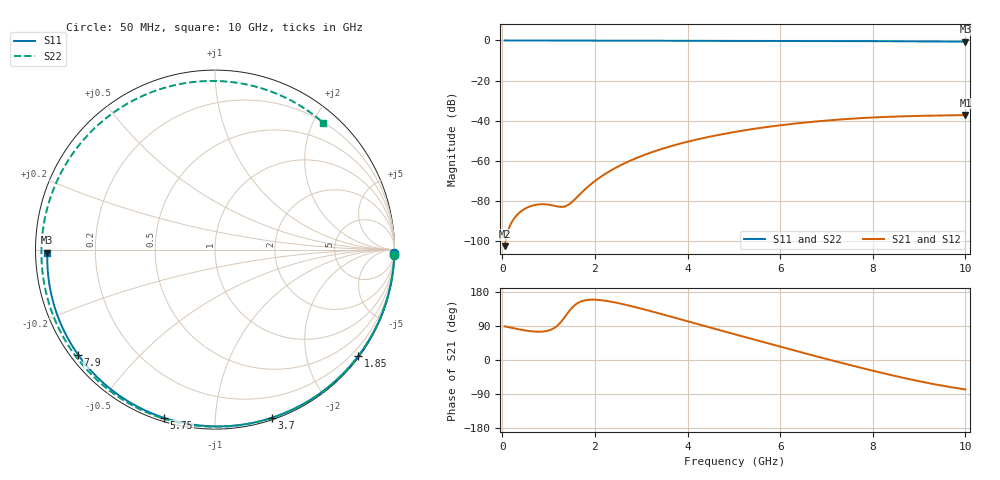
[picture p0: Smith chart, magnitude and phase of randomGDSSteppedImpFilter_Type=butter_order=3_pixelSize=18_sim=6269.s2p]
! freq	dB(S11)	phase(S11)	dB(S12)	phase(S12)
!  dB(S21)	phase(S21)	dB(S22)	phase(S22)
!S-par simulation data
#  GHz  S  DB  R 50
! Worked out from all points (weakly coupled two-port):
!   200 points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, 50 MHz to 10 GHz, reference 50 ohm
!   highest |S21| = -37.24 dB at 10 GHz (marker M1); lowest = -102.7 dB at 50 MHz (marker M2)
!   lowest |S11| = -0.6 dB at 10 GHz (marker M3), VSWR 29.39, Z = 1.7 - j0.47 ohm
!   |S11| at or under -10 dB: nowhere
!   |S22| runs from -0.6 to 0.0 dB; largest |S21 - S12| = 0
!   S11 on the Smith chart (normalised r, x): 50 MHz: open; 1.85 GHz: 0.03, -3.01; 3.7 GHz: 0.02, -1.39; 5.75 GHz: 0.02, -0.74; 7.9 GHz: 0.02, -0.34; 10 GHz: 0.03, -0.01
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0.05  -0.00 -1.0  -102.69 88.8  -102.69 88.8  -0.00 -1.7
0.75  -0.02 -15.1  -81.95 74.8  -81.95 74.8  -0.03 -24.9
1.5  -0.04 -29.9  -80.74 137.2  -80.74 137.2  -0.06 -49.1
1.55  -0.04 -30.9  -79.67 143.1  -79.67 143.1  -0.06 -50.7
1.75  -0.04 -34.8  -75.11 156.4  -75.11 156.4  -0.07 -56.9
1.85  -0.05 -36.7  -73.00 158.6  -73.00 158.6  -0.08 -60.0
2.15  -0.05 -42.5  -67.70 157.7  -67.70 157.7  -0.09 -69.3
2.5  -0.06 -49.2  -62.93 150.2  -62.93 150.2  -0.10 -79.8
3.4  -0.09 -65.9  -54.46 122.5  -54.46 122.5  -0.13 -105.8
3.7  -0.10 -71.4  -52.37 112.4  -52.37 112.4  -0.15 -114.2
4.4  -0.12 -83.8  -48.43 88.5  -48.43 88.5  -0.18 -133.5
5.05  -0.15 -95.0  -45.56 66.8  -45.56 66.8  -0.22 -151.1
5.75  -0.18 -106.9  -43.08 43.3  -43.08 43.3  -0.26 -170.3
6.25  -0.21 -115.2  -41.68 26.8  -41.68 26.8  -0.30 175.7
6.7  -0.24 -122.7  -40.60 12.2  -40.60 12.2  -0.34 162.7
7.3  -0.29 -132.5  -39.44 -6.8  -39.44 -6.8  -0.39 144.7
7.9  -0.34 -142.5  -38.57 -25.3  -38.57 -25.3  -0.45 125.5
8.35  -0.39 -150.0  -38.10 -38.5  -38.10 -38.5  -0.49 110.3
8.8  -0.44 -157.6  -37.77 -50.8  -37.77 -50.8  -0.53 94.4
9.2  -0.48 -164.5  -37.56 -60.9  -37.56 -60.9  -0.57 79.8
9.6  -0.54 -171.6  -37.40 -69.9  -37.40 -69.9  -0.60 64.8
10  -0.59 -178.9  -37.24 -77.7  -37.24 -77.7  -0.64 49.5
